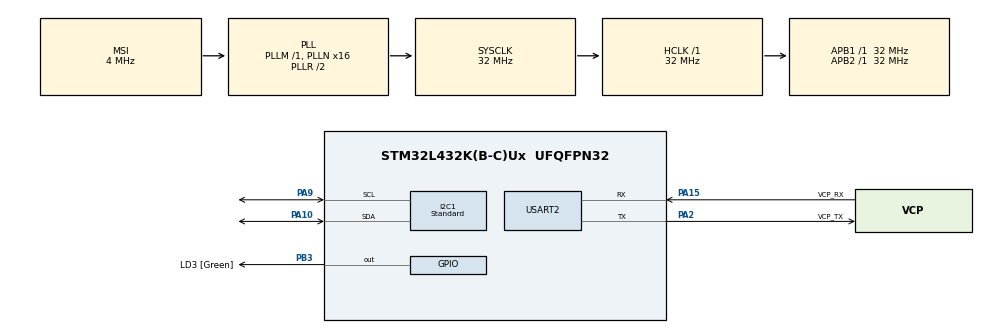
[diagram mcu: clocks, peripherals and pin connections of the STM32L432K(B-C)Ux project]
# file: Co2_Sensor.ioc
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I2C1.I2C_Fall_Time=10
I2C1.I2C_Speed_Mode=I2C_Standard
I2C1.Timing=0x20302E37
Mcu.Family=STM32L4
Mcu.Name=STM32L432K(B-C)Ux
Mcu.Package=UFQFPN32
NVIC.PriorityGroup=NVIC_PRIORITYGROUP_4
PA0.GPIO_Label=MCO [High speed clock in]
PA0.Mode=HSE-External-Clock-Source-for-LittleOrca
PA0.Signal=RCC_CK_IN
PA10.GPIO_Pu=GPIO_PULLUP
PA10.Mode=I2C
PA10.Signal=I2C1_SDA
PA13\ (JTMS-SWDIO).GPIO_Label=SWDIO
PA13\ (JTMS-SWDIO).Mode=Serial_Wire
PA13\ (JTMS-SWDIO).Signal=SYS_JTMS-SWDIO
PA14\ (JTCK-SWCLK).GPIO_Label=SWCLK
PA14\ (JTCK-SWCLK).Mode=Serial_Wire
PA14\ (JTCK-SWCLK).Signal=SYS_JTCK-SWCLK
PA15\ (JTDI).GPIO_Label=VCP_RX
PA15\ (JTDI).Mode=Asynchronous
PA15\ (JTDI).Signal=USART2_RX
PA2.GPIO_Label=VCP_TX
PA2.Mode=Asynchronous
PA2.Signal=USART2_TX
PA9.GPIO_Pu=GPIO_PULLUP
PA9.Mode=I2C
PA9.Signal=I2C1_SCL
PB3\ (JTDO-TRACESWO).GPIO_Label=LD3 [Green]
PB3\ (JTDO-TRACESWO).Signal=GPIO_Output
PC14-OSC32_IN\ (PC14).Mode=LSE-External-Oscillator
PC14-OSC32_IN\ (PC14).Signal=RCC_OSC32_IN
PC15-OSC32_OUT\ (PC15).Mode=LSE-External-Oscillator
PC15-OSC32_OUT\ (PC15).Signal=RCC_OSC32_OUT
ProjectManager.HeapSize=0x200
ProjectManager.StackSize=0x400
ProjectManager.TargetToolchain=STM32CubeIDE
RCC.AHBFreq_Value=32000000
RCC.APB1Freq_Value=32000000
RCC.APB1TimFreq_Value=32000000
RCC.APB2Freq_Value=32000000
RCC.APB2TimFreq_Value=32000000
RCC.CortexFreq_Value=32000000
RCC.HCLKFreq_Value=32000000
RCC.HSE_VALUE=8000000
RCC.HSI16_VALUE=16000000
RCC.HSI48_VALUE=48000000
RCC.HSI_VALUE=16000000
RCC.MSI_VALUE=4000000
RCC.PLLMUL=RCC_PLLMUL_4
RCC.PLLN=16
RCC.SYSCLKFreq_VALUE=32000000
RCC.SYSCLKSource=RCC_SYSCLKSOURCE_PLLCLK
RCC.VCOOutputFreq_Value=64000000
USART2.VirtualMode-Asynchronous=VM_ASYNC
board=NUCLEO-L432KC

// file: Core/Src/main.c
/* USER CODE BEGIN Header */
/**
  ******************************************************************************
  * @file           : main.c
  * @brief          : Main program body
  ******************************************************************************
  * @attention
  *
  * Copyright (c) 2026 STMicroelectronics.
  * All rights reserved.
  *
  * This software is licensed under terms that can be found in the LICENSE file
  * in the root directory of this software component.
  * If no LICENSE file comes with this software, it is provided AS-IS.
  *
  ******************************************************************************
  */
/* USER CODE END Header */
#include "main.h"

/* USER CODE BEGIN Includes */
#include <string.h>
#include <stdio.h>
/* USER CODE END Includes */

I2C_HandleTypeDef hi2c1;

UART_HandleTypeDef huart2;

void SystemClock_Config(void);
static void MX_GPIO_Init(void);
static void MX_I2C1_Init(void);
static void MX_USART2_UART_Init(void);

/* USER CODE BEGIN 0 */
void SGP30_Init(void) {
    uint8_t cmd[2] = {0x20, 0x03};
    HAL_I2C_Master_Transmit(&hi2c1, 0x58 << 1, cmd, 2, HAL_MAX_DELAY);
    //for the first 15s after the “sgp30_iaq_init” command the sensor isin an initialization phase during which a “sgp30_measure_iaq” command returns fixed values of 400 ppm CO2eq and 0 ppb TVOC.
    HAL_Delay(15000);
}

uint16_t SGP30_ReadCO2(void) {
    uint8_t cmd[2] = {0x20, 0x08};
    HAL_I2C_Master_Transmit(&hi2c1, 0x58 << 1, cmd, 2, HAL_MAX_DELAY);
    HAL_Delay(12);

    uint8_t buf[6];
    HAL_I2C_Master_Receive(&hi2c1, 0x58 << 1, buf, 6, HAL_MAX_DELAY);

    return (buf[0] << 8) | buf[1];
}
/* USER CODE END 0 */

int main(void)
{

  /* MCU Configuration--------------------------------------------------------*/

  /* Reset of all peripherals, Initializes the Flash interface and the Systick. */
  HAL_Init();

  /* Configure the system clock */
  SystemClock_Config();

  /* Initialize all configured peripherals */
  MX_GPIO_Init();
  MX_I2C1_Init();
  MX_USART2_UART_Init();
  /* USER CODE BEGIN 2 */
  SGP30_Init();
  /* USER CODE END 2 */

  /* Infinite loop */
  /* USER CODE BEGIN WHILE */
  while (1)
  {
	  uint16_t eco2 = SGP30_ReadCO2();

	  char msg[64];
	  sprintf(msg, "eCO2: %d ppm\r\n", eco2);
	  HAL_UART_Transmit(&huart2, (uint8_t*)msg, strlen(msg), HAL_MAX_DELAY);

	  HAL_Delay(1000);
    /* USER CODE END WHILE */

  }
}

void SystemClock_Config(void)
{
  RCC_OscInitTypeDef RCC_OscInitStruct = {0};
  RCC_ClkInitTypeDef RCC_ClkInitStruct = {0};

  /** Configure the main internal regulator output voltage
  */
  if (HAL_PWREx_ControlVoltageScaling(PWR_REGULATOR_VOLTAGE_SCALE1) != HAL_OK)
  {
    Error_Handler();
  }

  /** Configure LSE Drive Capability
  */
  HAL_PWR_EnableBkUpAccess();
  __HAL_RCC_LSEDRIVE_CONFIG(RCC_LSEDRIVE_LOW);

  /** Initializes the RCC Oscillators according to the specified parameters
  * in the RCC_OscInitTypeDef structure.
  */
  RCC_OscInitStruct.OscillatorType = RCC_OSCILLATORTYPE_LSE|RCC_OSCILLATORTYPE_MSI;
  RCC_OscInitStruct.LSEState = RCC_LSE_ON;
  RCC_OscInitStruct.MSIState = RCC_MSI_ON;
  RCC_OscInitStruct.MSICalibrationValue = 0;
  RCC_OscInitStruct.MSIClockRange = RCC_MSIRANGE_6;
  RCC_OscInitStruct.PLL.PLLState = RCC_PLL_ON;
  RCC_OscInitStruct.PLL.PLLSource = RCC_PLLSOURCE_MSI;
  RCC_OscInitStruct.PLL.PLLM = 1;
  RCC_OscInitStruct.PLL.PLLN = 16;
  RCC_OscInitStruct.PLL.PLLP = RCC_PLLP_DIV7;
  RCC_OscInitStruct.PLL.PLLQ = RCC_PLLQ_DIV2;
  RCC_OscInitStruct.PLL.PLLR = RCC_PLLR_DIV2;
  if (HAL_RCC_OscConfig(&RCC_OscInitStruct) != HAL_OK)
  {
    Error_Handler();
  }

  /** Initializes the CPU, AHB and APB buses clocks
  */
  RCC_ClkInitStruct.ClockType = RCC_CLOCKTYPE_HCLK|RCC_CLOCKTYPE_SYSCLK
                              |RCC_CLOCKTYPE_PCLK1|RCC_CLOCKTYPE_PCLK2;
  RCC_ClkInitStruct.SYSCLKSource = RCC_SYSCLKSOURCE_PLLCLK;
  RCC_ClkInitStruct.AHBCLKDivider = RCC_SYSCLK_DIV1;
  RCC_ClkInitStruct.APB1CLKDivider = RCC_HCLK_DIV1;
  RCC_ClkInitStruct.APB2CLKDivider = RCC_HCLK_DIV1;

  if (HAL_RCC_ClockConfig(&RCC_ClkInitStruct, FLASH_LATENCY_1) != HAL_OK)
  {
    Error_Handler();
  }

  /** Enable MSI Auto calibration
  */
  HAL_RCCEx_EnableMSIPLLMode();
}

static void MX_I2C1_Init(void)
{

  hi2c1.Instance = I2C1;
  hi2c1.Init.Timing = 0x20302E37;
  hi2c1.Init.OwnAddress1 = 0;
  hi2c1.Init.AddressingMode = I2C_ADDRESSINGMODE_7BIT;
  hi2c1.Init.DualAddressMode = I2C_DUALADDRESS_DISABLE;
  hi2c1.Init.OwnAddress2 = 0;
  hi2c1.Init.OwnAddress2Masks = I2C_OA2_NOMASK;
  hi2c1.Init.GeneralCallMode = I2C_GENERALCALL_DISABLE;
  hi2c1.Init.NoStretchMode = I2C_NOSTRETCH_DISABLE;
  if (HAL_I2C_Init(&hi2c1) != HAL_OK)
  {
    Error_Handler();
  }

  /** Configure Analogue filter
  */
  if (HAL_I2CEx_ConfigAnalogFilter(&hi2c1, I2C_ANALOGFILTER_ENABLE) != HAL_OK)
  {
    Error_Handler();
  }

  /** Configure Digital filter
  */
  if (HAL_I2CEx_ConfigDigitalFilter(&hi2c1, 0) != HAL_OK)
  {
    Error_Handler();
  }

}

static void MX_USART2_UART_Init(void)
{

  huart2.Instance = USART2;
  huart2.Init.BaudRate = 115200;
  huart2.Init.WordLength = UART_WORDLENGTH_8B;
  huart2.Init.StopBits = UART_STOPBITS_1;
  huart2.Init.Parity = UART_PARITY_NONE;
  huart2.Init.Mode = UART_MODE_TX_RX;
  huart2.Init.HwFlowCtl = UART_HWCONTROL_NONE;
  huart2.Init.OverSampling = UART_OVERSAMPLING_16;
  huart2.Init.OneBitSampling = UART_ONE_BIT_SAMPLE_DISABLE;
  huart2.AdvancedInit.AdvFeatureInit = UART_ADVFEATURE_NO_INIT;
  if (HAL_UART_Init(&huart2) != HAL_OK)
  {
    Error_Handler();
  }

}

static void MX_GPIO_Init(void)
{
  GPIO_InitTypeDef GPIO_InitStruct = {0};

  /* GPIO Ports Clock Enable */
  __HAL_RCC_GPIOC_CLK_ENABLE();
  __HAL_RCC_GPIOA_CLK_ENABLE();
  __HAL_RCC_GPIOB_CLK_ENABLE();

  /*Configure GPIO pin Output Level */
  HAL_GPIO_WritePin(LD3_GPIO_Port, LD3_Pin, GPIO_PIN_RESET);

  /*Configure GPIO pin : LD3_Pin */
  GPIO_InitStruct.Pin = LD3_Pin;
  GPIO_InitStruct.Mode = GPIO_MODE_OUTPUT_PP;
  GPIO_InitStruct.Pull = GPIO_NOPULL;
  GPIO_InitStruct.Speed = GPIO_SPEED_FREQ_LOW;
  HAL_GPIO_Init(LD3_GPIO_Port, &GPIO_InitStruct);

}

void Error_Handler(void)
{
  __disable_irq();
  while (1)
  {
  }
}
